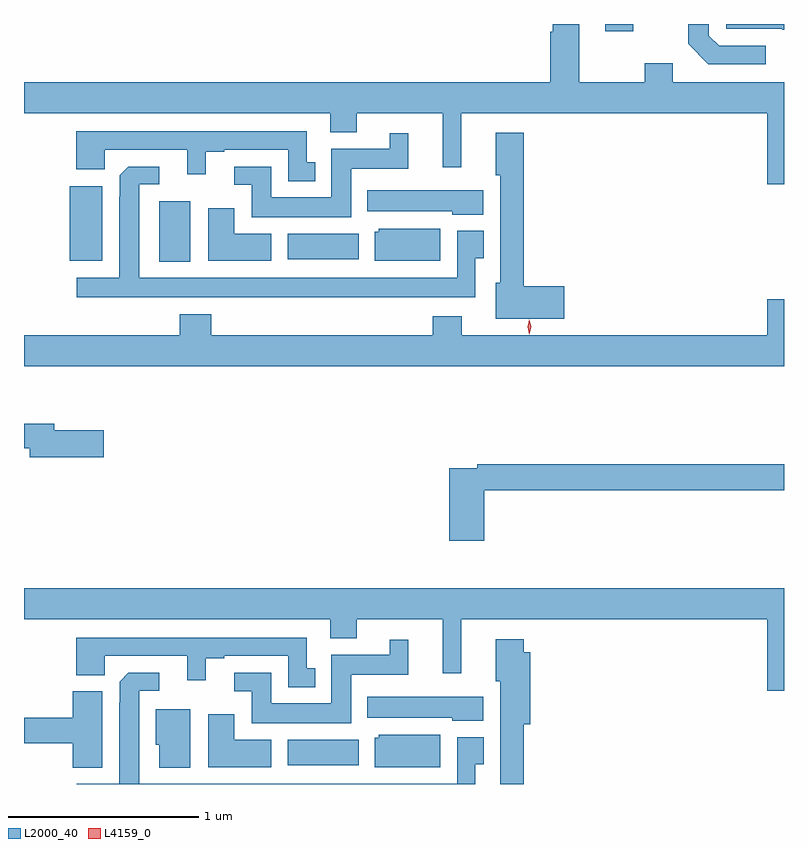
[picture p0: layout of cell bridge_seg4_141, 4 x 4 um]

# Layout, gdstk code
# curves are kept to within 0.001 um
import gdstk
lib = gdstk.Library(unit=1e-6, precision=1e-09)
def R(c, l, rs):  # rectangles x0, y0, x1, y1
    for r in rs: c.add(gdstk.rectangle(r[:2], r[2:], *l))
def P(c, l, *ps):  # polygons
    for p in ps: c.add(gdstk.Polygon(p, *l))
L2000_40 = (2000, 40)
L4159_0 = (4159, 0)

bridge_seg4_141 = lib.new_cell('bridge_seg4_141')
R(bridge_seg4_141, L2000_40, [(318.326,761.42,318.7,761.554), (317.651,764.072,317.815,764.389), (317.18,764.075,317.35,764.467), (318.326,764.084,318.7,764.218), (319.997,765.285,320.146,765.322)])
P(bridge_seg4_141, L2000_40, [(320.939,765.016),(320.353,765.016),(320.353,765.115),(320.206,765.115),(320.206,765.016),(319.861,765.016),(319.861,765.322),(319.721,765.322),(319.721,765.281),(319.709,765.281),(319.709,765.016),(316.939,765.016),(316.939,764.852),(318.551,764.852),(318.551,764.753),(318.691,764.753),(318.691,764.852),(319.142,764.852),(319.142,764.568),(319.241,764.568),(319.241,764.852),(320.852,764.852),(320.852,764.478),(320.939,764.478)],
  [(320.842,765.207),(320.598,765.207),(320.544,765.261),(320.544,765.322),(320.436,765.322),(320.436,765.217),(320.541,765.111),(320.842,765.111)],
  [(320.939,765.322),(320.634,765.322),(320.634,765.297),(320.929,765.297),(320.929,765.292),(320.939,765.292)],
  [(318.472,764.595),(318.426,764.595),(318.426,764.757),(317.213,764.757),(317.213,764.558),(317.364,764.558),(317.364,764.661),(317.798,764.661),(317.798,764.532),(317.896,764.532),(317.896,764.649),(317.992,764.649),(317.992,764.661),(318.33,764.661),(318.33,764.495),(318.472,764.495)],
  [(319.783,763.943),(319.568,763.943),(319.568,764.749),(319.421,764.749),(319.421,764.526),(319.445,764.526),(319.445,763.959),(319.421,763.959),(319.421,763.772),(319.783,763.772)],
  [(318.661,764.561),(318.962,764.561),(318.962,764.746),(318.863,764.746),(318.863,764.665),(318.557,764.665),(318.557,764.41),(318.241,764.41),(318.241,764.571),(318.045,764.571),(318.045,764.475),(318.137,764.475),(318.137,764.306),(318.661,764.306)],
  [(319.315,764.089),(319.36,764.089),(319.36,764.233),(319.218,764.233),(319.218,763.987),(317.545,763.987),(317.545,764.478),(317.65,764.478),(317.65,764.571),(317.488,764.571),(317.442,764.525),(317.441,763.987),(317.217,763.987),(317.217,763.883),(319.315,763.883)],
  [(319.357,764.446),(318.746,764.446),(318.746,764.336),(319.194,764.336),(319.194,764.318),(319.357,764.318)],
  [(318.241,764.218),(318.046,764.218),(318.046,764.353),(317.909,764.353),(317.909,764.075),(318.241,764.075)],
  [(319.129,764.245),(318.807,764.245),(318.807,764.229),(318.785,764.229),(318.785,764.075),(319.129,764.075)],
  [(320.939,763.873),(320.852,763.873),(320.852,763.684),(319.243,763.684),(319.243,763.783),(319.091,763.783),(319.091,763.684),(317.924,763.684),(317.924,763.795),(317.759,763.795),(317.759,763.684),(316.939,763.684),(316.939,763.52),(320.939,763.52)],
  [(317.359,763.185),(317.098,763.185),(317.098,763.219),(316.939,763.219),(316.939,763.09),(316.97,763.09),(316.97,763.043),(317.359,763.043)],
  [(319.361,762.868),(320.939,762.868),(320.939,763.004),(319.324,763.004),(319.324,762.984),(319.178,762.984),(319.178,762.603),(319.361,762.603)],
  [(320.939,762.352),(316.939,762.352),(316.939,762.188),(318.551,762.188),(318.551,762.089),(318.691,762.089),(318.691,762.188),(319.142,762.188),(319.142,761.904),(319.241,761.904),(319.241,762.188),(320.852,762.188),(320.852,761.814),(320.939,761.814)],
  [(318.472,761.931),(318.426,761.931),(318.426,762.093),(317.213,762.093),(317.213,761.894),(317.364,761.894),(317.364,761.997),(317.798,761.997),(317.798,761.868),(317.896,761.868),(317.896,761.985),(317.992,761.985),(317.992,761.997),(318.33,761.997),(318.33,761.831),(318.472,761.831)],
  [(319.568,761.636),(319.604,761.636),(319.604,762.016),(319.568,762.016),(319.568,762.085),(319.421,762.085),(319.421,761.862),(319.445,761.862),(319.445,761.322),(319.568,761.322)],
  [(318.661,761.897),(318.962,761.897),(318.962,762.082),(318.863,762.082),(318.863,762.001),(318.557,762.001),(318.557,761.746),(318.241,761.746),(318.241,761.907),(318.045,761.907),(318.045,761.811),(318.137,761.811),(318.137,761.642),(318.661,761.642)],
  [(319.315,761.425),(319.36,761.425),(319.36,761.569),(319.218,761.569),(319.218,761.323),(317.545,761.323),(317.545,761.814),(317.65,761.814),(317.65,761.907),(317.488,761.907),(317.442,761.861),(317.441,761.323),(317.217,761.322),(319.315,761.322)],
  [(317.35,761.809),(317.195,761.809),(317.195,761.672),(316.939,761.672),(316.939,761.536),(317.195,761.536),(317.195,761.408),(317.35,761.408)],
  [(319.357,761.782),(318.746,761.782),(318.746,761.672),(319.194,761.672),(319.194,761.654),(319.357,761.654)],
  [(317.815,761.716),(317.633,761.716),(317.633,761.529),(317.651,761.529),(317.651,761.408),(317.815,761.408)],
  [(318.241,761.554),(318.046,761.554),(318.046,761.689),(317.909,761.689),(317.909,761.411),(318.241,761.411)],
  [(319.129,761.581),(318.807,761.581),(318.807,761.565),(318.785,761.565),(318.785,761.411),(319.129,761.411)])
P(bridge_seg4_141, L4159_0, [(319.599,763.689),(319.599,763.69),(319.589,763.728),(319.598,763.766),(319.599,763.766),(319.599,763.766),(319.609,763.728),(319.599,763.69)])

lib.write_gds('bridge_seg4_141.gds')
